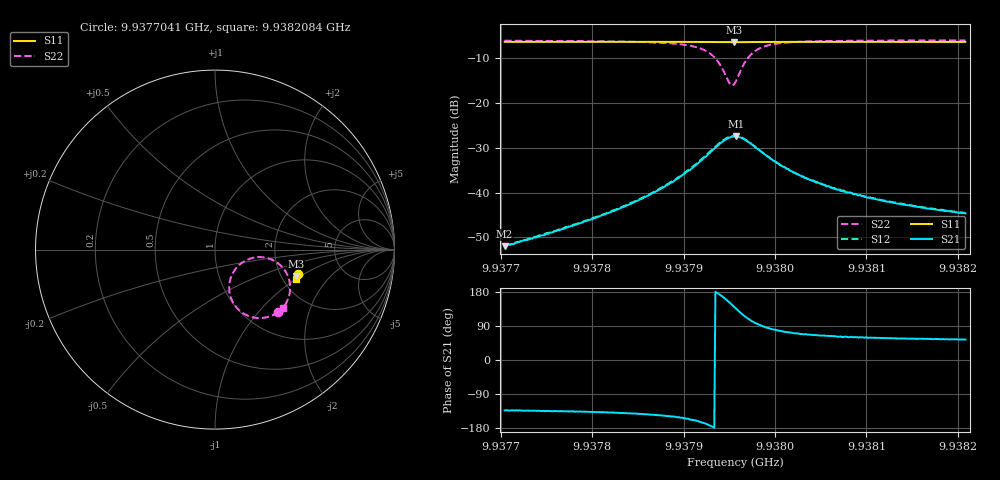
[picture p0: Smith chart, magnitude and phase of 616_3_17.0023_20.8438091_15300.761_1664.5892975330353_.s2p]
#  HZ  S  RI  R  50.00
! Rohde & Schwarz Vector Network Analyzer
! Rohde-Schwarz,ZNB20-2Port,1311601062101988,3.16
! Created: UTC 3/20/2024, 11:19:44 PM
! freq[Hz]  re:S11  im:S11  re:S21  im:S21  re:S12  im:S12  re:S22  im:S22
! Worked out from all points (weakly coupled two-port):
!   401 points, 9.9377041 GHz to 9.9382084 GHz, reference 50 ohm
!   highest |S21| = -27.49 dB at 9.9379575 GHz (marker M1); lowest = -52.0 dB at 9.9377041 GHz (marker M2)
!   lowest |S11| = -6.5 dB at 9.937955 GHz (marker M3), VSWR 2.82, Z = 120 - j46.1 ohm
!   |S11| at or under -10 dB: nowhere
!   |S22| runs from -16.1 to -6.1 dB; largest |S21 - S12| = 0.002
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9.93770407e9  0.4627 -0.1348  -0.00172 -0.00184  -0.00177 -0.00187  0.3516 -0.3474
9.93778854e9  0.4603 -0.1406  -0.00333 -0.00316  -0.00343 -0.00316  0.3325 -0.3597
9.93783519e9  0.4592 -0.144  -0.00535 -0.00447  -0.00553 -0.00449  0.3124 -0.3694
9.93787301e9  0.4578 -0.1466  -0.00885 -0.00601  -0.00912 -0.00604  0.2802 -0.3789
9.93790579e9  0.4561 -0.1489  -0.0162 -0.00723  -0.0167 -0.00697  0.2186 -0.3789
9.9379247e9  0.4546 -0.1501  -0.0249 -0.00504  -0.0258 -0.00461  0.1483 -0.3487
9.93793478e9  0.4534 -0.1504  -0.0318 3.39e-05  -0.0327 0.00087  0.1018 -0.2971
9.93794361e9  0.4524 -0.1499  -0.0364 0.00934  -0.0372 0.0109  0.079 -0.2135
9.93794991e9  0.4519 -0.1493  -0.0363 0.0188  -0.0365 0.0208  0.0959 -0.1377
9.93795243e9  0.452 -0.1488  -0.0349 0.023  -0.0349 0.0247  0.1133 -0.109
9.93795495e9  0.452 -0.1484  -0.0326 0.0265  -0.0325 0.0282  0.1368 -0.084
9.93795621e9  0.4522 -0.1484  -0.0314 0.0282  -0.0311 0.03  0.1505 -0.0728
9.93795747e9  0.4523 -0.1483  -0.0301 0.0296  -0.0295 0.0314  0.1649 -0.064
9.93796378e9  0.4531 -0.1479  -0.0212 0.0345  -0.0202 0.0358  0.2423 -0.042
9.93797008e9  0.4538 -0.148  -0.0126 0.0348  -0.0115 0.0358  0.3102 -0.0533
9.93797639e9  0.4546 -0.1484  -0.00606 0.0327  -0.00479 0.0333  0.3579 -0.0814
9.93798269e9  0.455 -0.1491  -0.00144 0.0297  -0.000531 0.0299  0.3875 -0.113
9.9380079e9  0.4553 -0.1519  0.0049 0.0191  0.00527 0.0192  0.419 -0.2066
9.93804068e9  0.4546 -0.1548  0.00552 0.0124  0.00569 0.0123  0.4118 -0.2611
9.93807472e9  0.4538 -0.1574  0.00509 0.00892  0.00523 0.00921  0.4012 -0.2878
9.93812515e9  0.4524 -0.1608  0.00419 0.00664  0.00437 0.00662  0.3893 -0.3085
9.93820835e9  0.4501 -0.1666  0.00341 0.00474  0.00355 0.00472  0.3764 -0.3257
